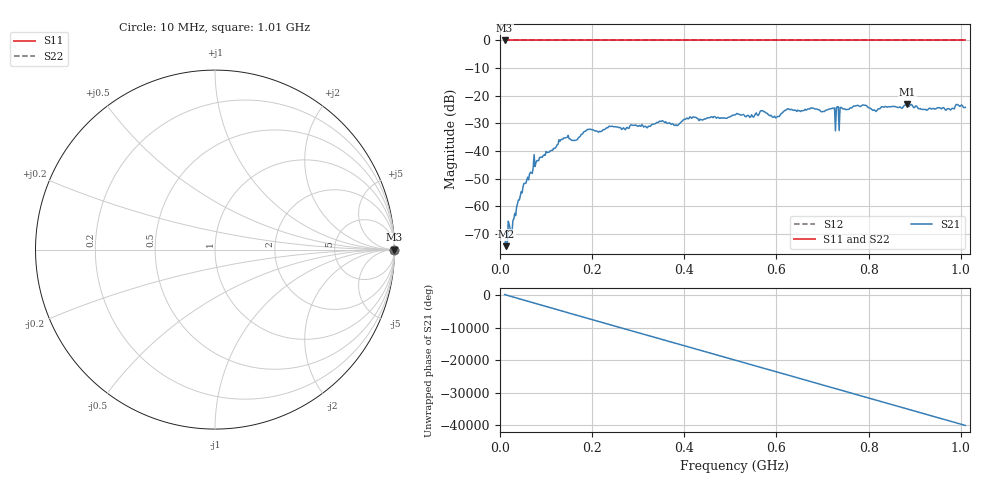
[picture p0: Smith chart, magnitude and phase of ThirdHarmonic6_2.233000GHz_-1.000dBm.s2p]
! 8/17/2025 2:33:32 AM
! C:\ANRITSUVNA\TEMP\TEMP.S2P
! CHANNEL.1
! TR.MEASUREMENT
! RAW.DATA
! RF.CORRECTION.OFF
! AVERAGING.OFF
! IF.BANDWIDTH: 5KHZ
! SWEEPTYPE:  FREQ.SWEEP(Linear)
! Reference Plane Port Info
! PORT:  PORT1  PORT2
! DISTANCE:  0  m  0  m
! TIME:  0  s  0  s
! PHASE.OFFSET:  0  deg.  0  deg.
! LOSS:  0  dB  0  dB
! REF.LOSS:  0  dB  0  dB
! REF.FREQ:  0  Hz  0  Hz
! Power Info
! POWER:  -20  dBm  -20  dBm
! EFF.POWER:  -20  dBm  -20  dBm
! SOURCE.ATTEN:  0  dB  0  dB
! TEST.ATTEN:  0  dB  0  dB
# GHZ S RI R 50.0
! FREQ.GHZ  S11RE  S11IM  S21RE  S21IM  S12RE  S12IM  S22RE  S22IM
!; PortSelection: Port_12
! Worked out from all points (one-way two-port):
!   501 points, 10 MHz to 1.01 GHz, reference 50 ohm
!   highest |S21| = -22.98 dB at 884 MHz (marker M1); lowest = -74.4 dB at 14 MHz (marker M2)
!   lowest |S11| = 0.0 dB at 10 MHz (marker M3)
!   |S11| at or under -10 dB: nowhere
!   |S22| runs from 0.0 to 0.0 dB; largest |S21 - S12| = 1.1
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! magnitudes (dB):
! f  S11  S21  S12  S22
! 10 MHz  0.0  -73.8  0.0  0.0
! 14 MHz  0.0  -74.4  0.0  0.0
! 26 MHz  0.0  -69.4  0.0  0.0
! 50 MHz  0.0  -52.9  0.0  0.0
! 78 MHz  0.0  -44.3  0.0  0.0
! 132 MHz  0.0  -35.9  0.0  0.0
! 164 MHz  0.0  -36.1  0.0  0.0
! 178 MHz  0.0  -33.9  0.0  0.0
! 344 MHz  0.0  -29.6  0.0  0.0
! 382 MHz  0.0  -30.6  0.0  0.0
! 416 MHz  0.0  -28.2  0.0  0.0
! 510 MHz  0.0  -27.0  0.0  0.0
! 570 MHz  0.0  -25.4  0.0  0.0
! 602 MHz  0.0  -27.5  0.0  0.0
! 622 MHz  0.0  -25.0  0.0  0.0
! 678 MHz  0.0  -24.5  0.0  0.0
! 722 MHz  0.0  -24.5  0.0  0.0
! 732 MHz  0.0  -24.1  0.0  0.0
! 742 MHz  0.0  -24.4  0.0  0.0
! 844 MHz  0.0  -24.0  0.0  0.0
! 884 MHz  0.0  -23.0  0.0  0.0
! 1.01 GHz  0.0  -24.2  0.0  0.0
